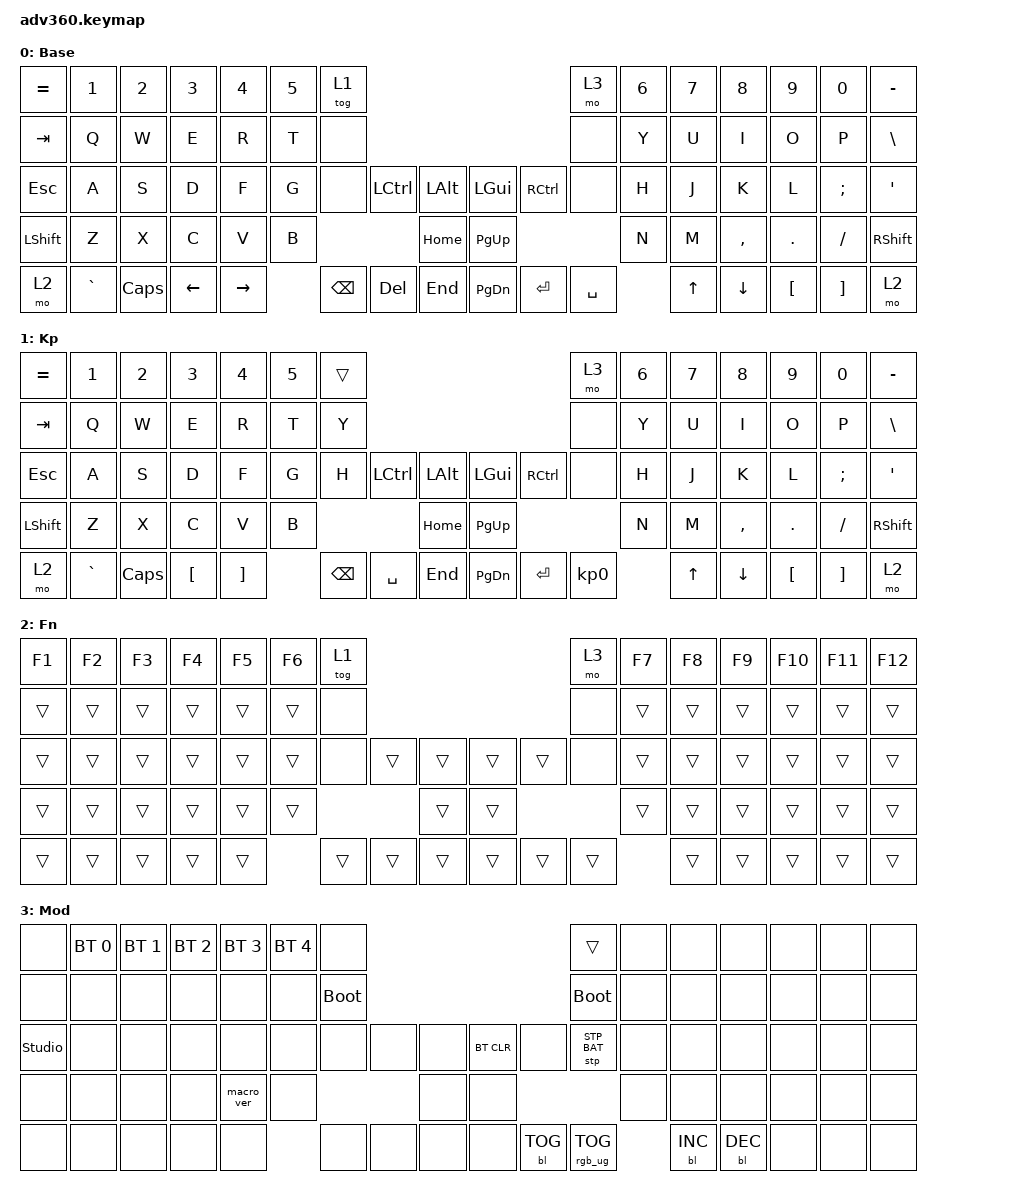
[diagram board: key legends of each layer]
#include <dt-bindings/zmk/stp.h>
#include <behaviors.dtsi>
#include <dt-bindings/zmk/backlight.h>
#include <dt-bindings/zmk/bt.h>
#include <dt-bindings/zmk/keys.h>
#include <dt-bindings/zmk/rgb.h>

/ {
    behaviors {
        #include "macros.dtsi"
      #include "version.dtsi"

        hm: homerow_mods {
            compatible = "zmk,behavior-hold-tap";
            label = "HOMEROW_MODS";
            #binding-cells = <2>;
            tapping-term-ms = <200>;
            quick_tap_ms = <175>;
            flavor = "tap-preferred";
            bindings = <&kp>, <&kp>;
        };
    };

    keymap {
        compatible = "zmk,keymap";

        default_layer {
            display-name = "Base";
            bindings = <
&kp EQUAL  &kp N1     &kp N2    &kp N3    &kp N4     &kp N5  &tog 1                                                   &mo 3      &kp N6  &kp N7  &kp N8     &kp N9    &kp N0    &kp MINUS
&kp TAB    &kp Q      &kp W     &kp E     &kp R      &kp T   &none                                                    &none      &kp Y   &kp U   &kp I      &kp O     &kp P     &kp BSLH
&kp ESC    &kp A      &kp S     &kp D     &kp F      &kp G   &none     &kp LCTRL  &kp LALT      &kp LGUI   &kp RCTRL  &none      &kp H   &kp J   &kp K      &kp L     &kp SEMI  &kp SQT
&kp LSHFT  &kp Z      &kp X     &kp C     &kp V      &kp B                        &kp HOME      &kp PG_UP                        &kp N   &kp M   &kp COMMA  &kp DOT   &kp FSLH  &kp RSHFT
&mo 2      &kp GRAVE  &kp CAPS  &kp LEFT  &kp RIGHT          &kp BSPC  &kp DEL    &kp END       &kp PG_DN  &kp ENTER  &kp SPACE          &kp UP  &kp DOWN   &kp LBKT  &kp RBKT  &mo 2
            >;
        };

        BAR {
            display-name = "Kp";
            bindings = <
&kp EQUAL  &kp N1     &kp N2    &kp N3    &kp N4             &kp N5  &trans                                                        &mo 3      &kp N6  &kp N7  &kp N8     &kp N9            &kp N0         &kp MINUS
&kp TAB    &kp Q      &kp W     &kp E     &kp R              &kp T   &kp Y                                                         &none      &kp Y   &kp U   &kp I      &kp O             &kp P          &kp BSLH
&kp ESC    &kp A      &kp S     &kp D     &kp F              &kp G   &kp H          &kp LCTRL  &kp LALT      &kp LGUI   &kp RCTRL  &none      &kp H   &kp J   &kp K      &kp L             &kp SEMICOLON  &kp SQT
&kp LSHFT  &kp Z      &kp X     &kp C     &kp V              &kp B                             &kp HOME      &kp PG_UP                        &kp N   &kp M   &kp COMMA  &kp DOT           &kp SLASH      &kp RSHFT
&mo 2      &kp GRAVE  &kp CAPS  &kp LBKT  &kp RIGHT_BRACKET          &kp BACKSPACE  &kp SPACE  &kp END       &kp PG_DN  &kp ENTER  &kp KP_N0          &kp UP  &kp DOWN   &kp LEFT_BRACKET  &kp RBKT       &mo 2
            >;
        };

        fn {
            display-name = "Fn";
            bindings = <
&kp F1  &kp F2  &kp F3  &kp F4  &kp F5  &kp F6  &tog 1                                      &mo 3   &kp F7  &kp F8  &kp F9  &kp F10  &kp F11  &kp F12
&trans  &trans  &trans  &trans  &trans  &trans  &none                                       &none   &trans  &trans  &trans  &trans   &trans   &trans
&trans  &trans  &trans  &trans  &trans  &trans  &none   &trans  &trans      &trans  &trans  &none   &trans  &trans  &trans  &trans   &trans   &trans
&trans  &trans  &trans  &trans  &trans  &trans                  &trans      &trans                  &trans  &trans  &trans  &trans   &trans   &trans
&trans  &trans  &trans  &trans  &trans          &trans  &trans  &trans      &trans  &trans  &trans          &trans  &trans  &trans   &trans   &trans
            >;
        };

        mod {
            display-name = "Mod";
            bindings = <
&none           &bt BT_SEL 0  &bt BT_SEL 1  &bt BT_SEL 2  &bt BT_SEL 3  &bt BT_SEL 4  &none                                                  &trans           &none  &none       &none       &none  &none  &none
&none           &none         &none         &none         &none         &none         &bootloader                                            &bootloader      &none  &none       &none       &none  &none  &none
&studio_unlock  &none         &none         &none         &none         &none         &none        &none  &none      &bt BT_CLR  &none       &stp STP_BAT     &none  &none       &none       &none  &none  &none
&none           &none         &none         &none         &macro_ver    &none                             &none      &none                                    &none  &none       &none       &none  &none  &none
&none           &none         &none         &none         &none                       &none        &none  &none      &none       &bl BL_TOG  &rgb_ug RGB_TOG         &bl BL_INC  &bl BL_DEC  &none  &none  &none
            >;
        };

        extra1 {
            display-name = "Red";
            status = "reserved";
        };

        extra2 {
            display-name = "Purple";
            status = "reserved";
        };

        extra3 {
            display-name = "Cyan";
            status = "reserved";
        };

        extra4 {
            display-name = "Yellow";
            status = "reserved";
        };
    };
};
